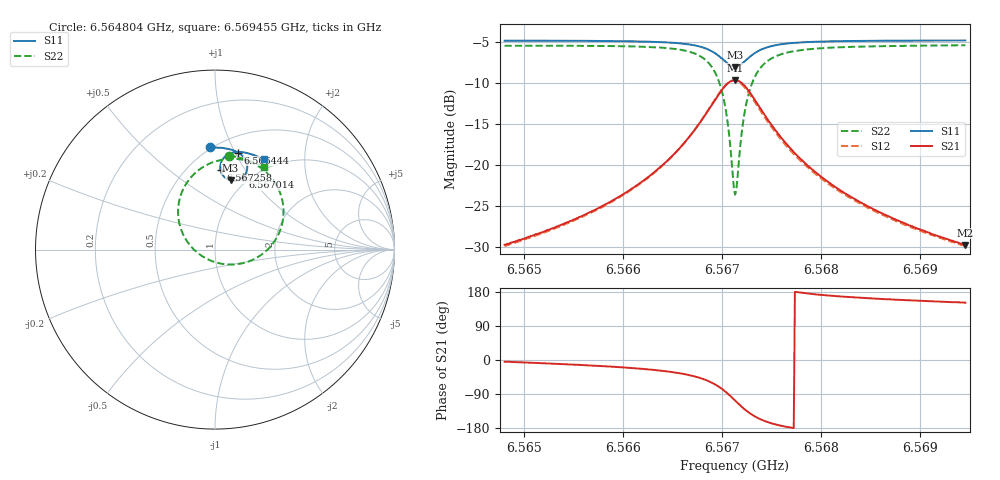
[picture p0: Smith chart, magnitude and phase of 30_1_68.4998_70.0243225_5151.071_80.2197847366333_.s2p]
#  HZ  S  RI  R  50.00
! Rohde & Schwarz Vector Network Analyzer
! Rohde-Schwarz,ZNB20-2Port,1311601062101988,3.16
! Created: UTC 3/20/2024, 4:49:53 PM
! freq[Hz]  re:S11  im:S11  re:S21  im:S21  re:S12  im:S12  re:S22  im:S22
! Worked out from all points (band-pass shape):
!   401 points, 6.564804 GHz to 6.569455 GHz, reference 50 ohm
!   highest |S21| = -9.67 dB at 6.56713 GHz (marker M1); lowest = -29.7 dB at 6.569455 GHz (marker M2)
!   |S21| within 3 dB of the highest: 6.566896 GHz to 6.567362 GHz (465.3 kHz wide, 0.00709 % of centre)
!   lowest |S11| = -8.1 dB at 6.56713 GHz (marker M3), VSWR 2.31, Z = 43 + j39.2 ohm
!   |S11| at or under -10 dB: nowhere
!   |S22| runs from -23.6 to -5.4 dB; largest |S21 - S12| = 0.017
!   S11 on the Smith chart (normalised r, x): 6.564804 GHz: 0.49, +0.83; 6.566444 GHz: 0.66, +1.03; 6.567014 GHz: 0.93, +0.93; 6.567258 GHz: 0.71, +0.78; 6.569455 GHz: 0.86, +1.28
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6.5648043e9  -0.0267 0.5689  0.0327 -0.00256  0.0322 -0.00306  0.0782 0.5241
6.5655834e9  0.0394 0.5665  0.0477 -0.0113  0.047 -0.0119  0.1593 0.505
6.5660252e9  0.0813 0.5593  0.0637 -0.0231  0.0628 -0.024  0.2192 0.4788
6.5663624e9  0.1181 0.5461  0.0847 -0.0443  0.0834 -0.0453  0.2805 0.4354
6.5664438e9  0.128 0.5408  0.0915 -0.0532  0.0904 -0.0543  0.2987 0.4179
6.5666764e9  0.1591 0.5152  0.1147 -0.0974  0.1128 -0.0996  0.3566 0.3311
6.5668392e9  0.1779 0.4772  0.1235 -0.1648  0.12 -0.1686  0.3817 0.2009
6.5669438e9  0.1764 0.4367  0.1016 -0.2361  0.0946 -0.2412  0.3432 0.0651
6.5670136e9  0.1577 0.4056  0.0545 -0.289  0.0429 -0.2928  0.2534 -0.0324
6.5670485e9  0.1408 0.3928  0.017 -0.3098  0.00298 -0.3113  0.1825 -0.0678
6.5671066e9  0.103 0.3832  -0.0616 -0.3209  -0.0775 -0.3162  0.0383 -0.0792
6.5671299e9  0.0868 0.3852  -0.0945 -0.3145  -0.1099 -0.3067  -0.02 -0.063
6.5671531e9  0.0715 0.3907  -0.1254 -0.3015  -0.1394 -0.2913  -0.0733 -0.0353
6.5672113e9  0.0421 0.4162  -0.1846 -0.2488  -0.1928 -0.2345  -0.1686 0.0672
6.5672578e9  0.0312 0.4418  -0.2081 -0.1983  -0.2119 -0.1838  -0.2015 0.1593
6.5673508e9  0.0341 0.4863  -0.2098 -0.1126  -0.2077 -0.1015  -0.1889 0.3089
6.5674903e9  0.0616 0.5228  -0.1732 -0.0417  -0.1693 -0.0354  -0.1099 0.4277
6.5676531e9  0.0936 0.5391  -0.1334 -0.00799  -0.1298 -0.00472  -0.0273 0.4809
6.567909e9  0.1324 0.544  -0.0935 0.00959  -0.0912 0.0111  0.0603 0.5039
6.5682229e9  0.1686 0.5402  -0.0667 0.0152  -0.0651 0.0161  0.1283 0.5042
6.568688e9  0.2119 0.5283  -0.0457 0.0165  -0.0445 0.0169  0.1948 0.4911
6.5694555e9  0.2717 0.5023  -0.0288 0.0157  -0.028 0.0159  0.2708 0.4605
